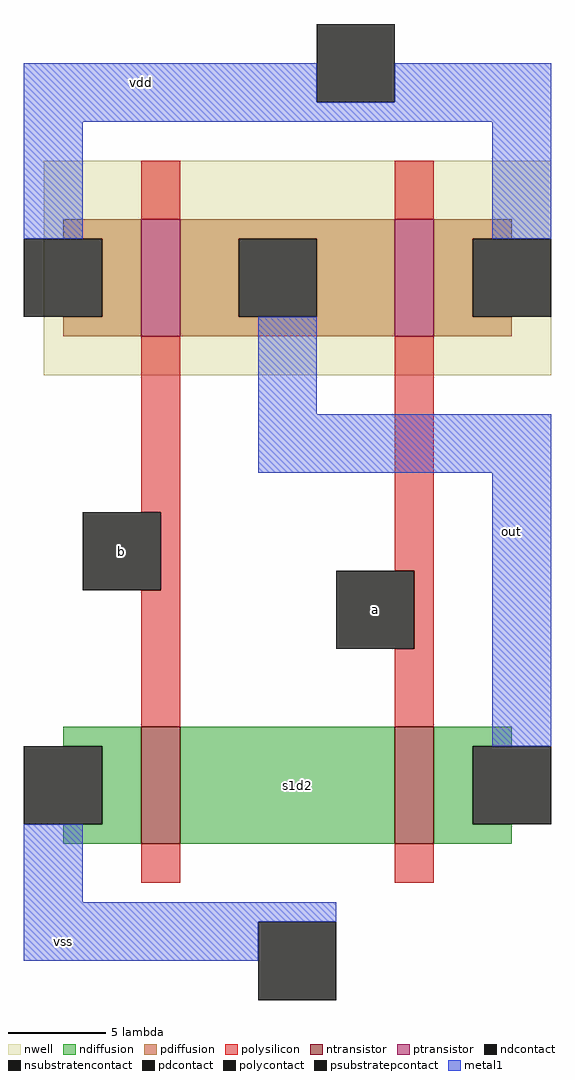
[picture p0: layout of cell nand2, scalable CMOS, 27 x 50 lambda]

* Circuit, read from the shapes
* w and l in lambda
.subckt nand2 a b out s1d2 vdd vss
M1 s1d2 b vss vss nfet w=6 l=2
M2 out a s1d2 vss nfet w=6 l=2
M3 out b vdd n1 pfet w=6 l=2
M4 vdd a out n1 pfet w=6 l=2
.ends

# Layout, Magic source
magic
tech scmos
<< nwell >>
rect -12 5 14 16
<< polysilicon >>
rect -7 13 -5 16
rect 6 13 8 16
rect -7 -2 -5 7
rect -6 -6 -5 -2
rect 6 -5 8 7
rect -7 -13 -5 -6
rect 7 -9 8 -5
rect 6 -13 8 -9
rect -7 -21 -5 -19
rect 6 -21 8 -19
<< ndiffusion >>
rect -11 -14 -7 -13
rect -9 -18 -7 -14
rect -11 -19 -7 -18
rect -5 -19 6 -13
rect 8 -14 12 -13
rect 8 -18 10 -14
rect 8 -19 12 -18
<< pdiffusion >>
rect -11 12 -7 13
rect -9 8 -7 12
rect -11 7 -7 8
rect -5 12 6 13
rect -5 8 -2 12
rect 2 8 6 12
rect -5 7 6 8
rect 8 12 12 13
rect 8 8 10 12
rect 8 7 12 8
<< metal1 >>
rect -13 19 2 21
rect 6 19 14 21
rect -13 18 14 19
rect -13 12 -10 18
rect 11 12 14 18
rect -1 3 2 8
rect -1 0 14 3
rect 11 -14 14 0
rect -13 -22 -10 -18
rect -13 -23 3 -22
rect -13 -25 -1 -23
<< ntransistor >>
rect -7 -19 -5 -13
rect 6 -19 8 -13
<< ptransistor >>
rect -7 7 -5 13
rect 6 7 8 13
<< polycontact >>
rect -10 -6 -6 -2
rect 3 -9 7 -5
<< ndcontact >>
rect -13 -18 -9 -14
rect 10 -18 14 -14
<< pdcontact >>
rect -13 8 -9 12
rect -2 8 2 12
rect 10 8 14 12
<< psubstratepcontact >>
rect -1 -27 3 -23
<< nsubstratencontact >>
rect 2 19 6 23
<< labels >>
rlabel polycontact -8 -4 -8 -4 1 b
rlabel polycontact 5 -7 5 -7 1 a
rlabel metal1 -11 -24 -11 -24 1 vss
rlabel metal1 12 -3 12 -3 3 out
rlabel metal1 -7 20 -7 20 5 vdd
rlabel ndiffusion 1 -16 1 -16 1 s1d2
<< end >>
